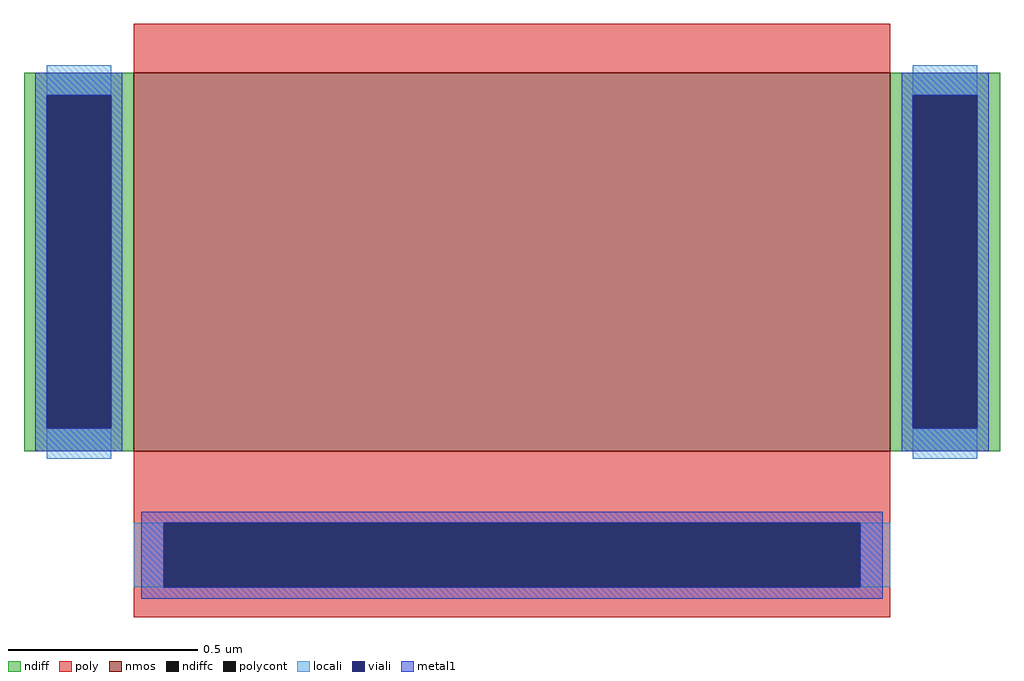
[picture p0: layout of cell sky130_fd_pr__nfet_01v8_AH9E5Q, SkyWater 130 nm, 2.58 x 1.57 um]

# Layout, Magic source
magic
tech sky130A
<< nmos >>
rect -99 -33 101 67
<< ndiff >>
rect -128 61 -99 67
rect -128 -27 -122 61
rect -105 -27 -99 61
rect -128 -33 -99 -27
rect 101 61 130 67
rect 101 -27 107 61
rect 124 -27 130 61
rect 101 -33 130 -27
<< ndiffc >>
rect -122 -27 -105 61
rect 107 -27 124 61
<< poly >>
rect -99 67 101 80
rect -99 -52 101 -33
rect -99 -69 -91 -52
rect 93 -69 101 -52
rect -99 -77 101 -69
<< polycont >>
rect -91 -69 93 -52
<< locali >>
rect -122 61 -105 69
rect -122 -35 -105 -27
rect 107 61 124 69
rect 107 -35 124 -27
rect -99 -69 -91 -52
rect 93 -69 101 -52
<< viali >>
rect -122 -27 -105 61
rect 107 -27 124 61
rect -91 -69 93 -52
<< metal1 >>
rect -125 61 -102 67
rect -125 -27 -122 61
rect -105 -27 -102 61
rect -125 -33 -102 -27
rect 104 61 127 67
rect 104 -27 107 61
rect 124 -27 127 61
rect 104 -33 127 -27
rect -97 -52 99 -49
rect -97 -69 -91 -52
rect 93 -69 99 -52
rect -97 -72 99 -69
<< properties >>
string gencell sky130_fd_pr__nfet_01v8
string library sky130
string parameters w 1.0 l 2.0 m 1 nf 1 diffcov 100 polycov 100 guard 0 glc 1 grc 1 gtc 1 gbc 1 tbcov 100 rlcov 100 topc 0 botc 1 poverlap 0 doverlap 1 lmin 0.15 wmin 0.42 compatible {sky130_fd_pr__nfet_01v8 sky130_fd_pr__nfet_01v8_lvt  sky130_fd_bs_flash__special_sonosfet_star  sky130_fd_pr__nfet_g5v0d10v5 sky130_fd_pr__nfet_05v0_nvt  sky130_fd_pr__nfet_03v3_nvt} full_metal 1 viasrc 100 viadrn 100 viagate 100 viagb 0 viagr 0 viagl 0 viagt 0
<< end >>
